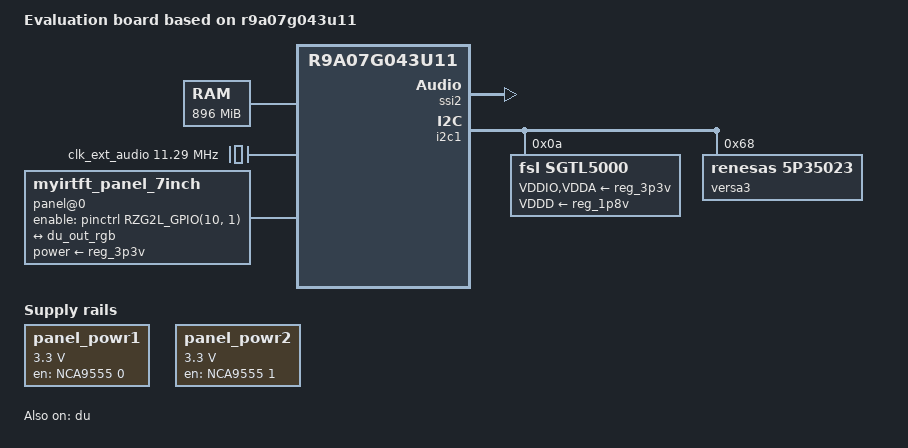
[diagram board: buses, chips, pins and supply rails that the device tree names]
// SPDX-License-Identifier: GPL-2.0
/*
 * Device Tree Source for the RZG2UL Single A55 Evaluation board
 *
 * Copyright (C) 2022 MYiR Electronics Corp.
 */

/dts-v1/;
#include "r9a07g043u11.dtsi"
#include "myb-rzg2ul-smarc-base.dtsi"

/ {
	model = "Evaluation board based on r9a07g043u11";
	compatible = "renesas,r9a07g043u11-smarc",
		     "renesas,r9a07g043",
		     "renesas,r9a07g043u11";

	memory@48000000 {
		device_type = "memory";
		/* first 128MB is reserved for secure area. */
		reg = <0x0 0x48000000 0x0 0x38000000>;
	};

	reserved-memory {
		#address-cells = <2>;
		#size-cells = <2>;
		ranges;

		global_cma: linux,cma@58000000 {
			compatible = "shared-dma-pool";
			linux,cma-default;
			reusable;
			reg = <0x0 0x58000000 0x0 0x10000000>;
		};
		mmp_reserved: linux,multimedia {
			compatible = "shared-dma-pool";
			reusable;
			reg = <0x00000000 0x68000000 0x0 0x8000000>;
		};
	};

	mmngr {
		compatible = "renesas,mmngr";
		memory-region = <&mmp_reserved>;
	};

	mmngrbuf {
		compatible = "renesas,mmngrbuf";
	};

	vspm_if {
		compatible = "renesas,vspm_if";
	};

	clk_ext_audio: clk_ext_audio {
		compatible = "fixed-clock";
		#clock-cells = <0>;
		clock-frequency = <11289600>;
	};

	panel_powr1: regulator-panel_powr1 {
		compatible = "regulator-fixed";
		regulator-name = "panel-power1";
		regulator-min-microvolt = <3300000>;
		regulator-max-microvolt = <3300000>;
		gpios = <&NCA9555 0 GPIO_ACTIVE_LOW>;
		enable-active-high;
		regulator-boot-on;
		regulator-always-on;
	};

	panel_powr2: regulator-panel_powr2 {
		compatible = "regulator-fixed";
		regulator-name = "panel-power2";
		regulator-min-microvolt = <3300000>;
		regulator-max-microvolt = <3300000>;
		gpios = <&NCA9555 1 GPIO_ACTIVE_LOW>;
		enable-active-high;
		regulator-boot-on;
		regulator-always-on;
	};

	panel@0 {
		compatible = "myirtft_panel_7inch";
		// backlight = <&lcd_backlight>;
		power-supply = <&reg_3p3v>;
		enable-gpios = <&pinctrl RZG2L_GPIO(10, 1) GPIO_ACTIVE_HIGH>;// backlight
		status = "okay";
		no-hpd;

		port {
			panel_lcd_in: endpoint {
				remote-endpoint = <&du_out_rgb>;
			};
		};
	};

    sound_rzg2l: sound {
		compatible = "simple-audio-card";
		simple-audio-card,format = "i2s";
		simple-audio-card,bitclock-master = <&cpu_dai>;
		simple-audio-card,frame-master = <&cpu_dai>;
		simple-audio-card,mclk-fs = <256>;
		simple-audio-card,widgets =
				"Microphone", "Microphone Jack",
				"Headphone", "Headphone Jack",
				"Speaker", "Speaker Ext",
				"Line", "Line In Jack";
		simple-audio-card,routing =
				"MIC_IN", "Microphone Jack",
				"Microphone Jack", "Mic Bias",
				"LINE_IN", "Line In Jack",
				"Headphone Jack", "HP_OUT",
				"Speaker Ext", "LINE_OUT";

		cpu_dai: simple-audio-card,cpu {
				sound-dai = <&ssi2>;
		};
		codec_dai: simple-audio-card,codec {
				sound-dai = <&sgtl5000>;
				clocks = <&versa3 3>;
		};
    };

};

&pinctrl {

        ssi2_pins: ssi2 {
                pinmux = <RZG2L_PORT_PINMUX(5, 2, 4)>, /* BCK */
                         <RZG2L_PORT_PINMUX(5, 3, 4)>, /* RCK */
                         <RZG2L_PORT_PINMUX(5, 4, 4)>; /* DATA */
        };

};

&du {
	pinctrl-0 = <&du_pins>;
	pinctrl-names = "default";
	status = "okay";

	ports {
		port@0 {
			du_out_rgb: endpoint {
				remote-endpoint = <&panel_lcd_in>;
			};
		};
	};
};

&ehci0 {
	memory-region = <&global_cma>;
};

&ohci0 {
	memory-region = <&global_cma>;
};

&ehci1 {
	memory-region = <&global_cma>;
};

&ohci1 {
	memory-region = <&global_cma>;
};

&ssi2 {
	pinctrl-0 = <&ssi2_pins>;
	pinctrl-0 = <&ssi2_pins &sound_clk_pins>;
	pinctrl-names = "default";
	status = "okay";
};

&i2c1 {
	pinctrl-0 = <&i2c1_pins>;
	pinctrl-names = "default";
	status = "okay";

	sgtl5000: audio-codec@a {
		#sound-dai-cells = <0>;
		compatible = "fsl,sgtl5000";
		reg = <0xa>;
		VDDIO-supply = <&reg_3p3v>;
		VDDA-supply = <&reg_3p3v>;
		VDDD-supply = <&reg_1p8v>;
		clocks = <&clk_ext_audio>;
	};

	versa3: versa3@68 {
		compatible = "renesas,5p35023";
		reg = <0x68>;
		#clock-cells = <1>;
		clocks = <&x1_clk>;
		clock-names = "x1";
		assigned-clocks = <&versa3 0>,
				<&versa3 1>,
				<&versa3 2>,
				<&versa3 3>,
				<&versa3 4>,
				<&versa3 5>;
		assigned-clock-rates =  <12288000>, <25000000>,
								<12000000>, <11289600>,
								<11289600>, <24000000>;
		clock-divider-read-only = <1>, <1>, <1>, <1>, <1>;
		clock-flags = <2176>, <2176>, <2176>, <2052>, <2176>, <2048>;
	};
};
